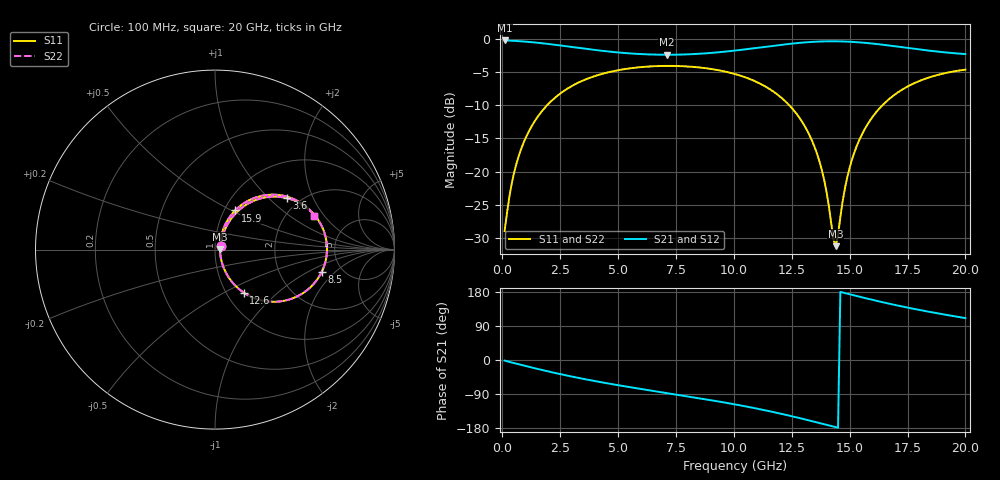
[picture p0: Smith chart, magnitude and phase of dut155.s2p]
! Touchstone file exported from HFSS 2026.1.0
!  File:  C:/ffzhzh/LocalFiles/Ansys_Project_Files/temp_train_TSV_RDL_155_1783052571_45820.aedt
!  Generated:  12:37:08 PM Jul  3, 2026
!  Design:  TSV_RDL
!  Project:  temp_train_TSV_RDL_155_1783052571_45820
! Variables:
!  h_bsmrdl = 2.17um
!  h_ox = 20um
!  h_rdl = 5um
!  h_sub = 96.87um
!  h_tmrdl = 2.38um
!  h_tsv = 96.87um
!  h_via = 3um
!  l_bsmrdl = 872.55um
!  l_sub = 3951.93um
!  l_tmrdl = 203.51um
!  m_sub = 200um
!  pitch = 58.49um
!  r_tsv = 3.73um
!  s_tmrdl = 10um
!  w_bsmrdl = 24.58um
!  w_sub = 500um
!  w_tmrdl = 15.5um
!  x_tsv_center1 = 211.26um
!  x_tsv_center2 = 1108.39um
!  x_tsv_center3 = 1327.4um
!  x_tsv_center4 = 2224.53um
!  x_tsv_center5 = 2443.54um
!  x_tsv_center6 = 3340.67um
# GHz S MA R 50.000000
! Terminal data exported
! Port[1] = TM_RDL1_1_T1
! Port[2] = TM_RDL5_1_T1
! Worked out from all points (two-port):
!   200 points, 100 MHz to 20 GHz, reference 50 ohm
!   highest |S21| = -0.27 dB at 100 MHz (marker M1); lowest = -2.4 dB at 7.1 GHz (marker M2)
!   |S21| within 3 dB of the highest: start of sweep to end of sweep
!   lowest |S11| = -31.2 dB at 14.4 GHz (marker M3), VSWR 1.06, Z = 52.8 + j0.333 ohm
!   |S11| at or under -10 dB: start of sweep to 1.94 GHz; 12.39 GHz to 16.42 GHz (4.032 GHz wide, 28 % of centre)
!   |S22| runs from -31.2 to -4.1 dB; largest |S21 - S12| = 1.7e-14
!   S11 on the Smith chart (normalised r, x): 100 MHz: 1.06, +0.04; 3.6 GHz: 1.72, +1.30; 8.5 GHz: 3.52, -1.38; 12.6 GHz: 1.20, -0.63; 15.9 GHz: 1.12, +0.52; 20 GHz: 2.80, +1.60
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0.1  0.03574 30.0  0.9694 -1.6  0.9694 -1.6  0.03574 30.0
! Gamma 0 0 0 0
! Port Impedance 50 0 50 0
0.5  0.09659 62.0  0.963 -8.1  0.963 -8.1  0.09659 62.0
1.2  0.2091 61.6  0.9436 -18.8  0.9436 -18.8  0.2091 61.6
2.2  0.3501 51.3  0.9031 -33.2  0.9031 -33.2  0.3501 51.3
3.5  0.4856 36.6  0.8431 -49.8  0.8431 -49.8  0.4856 36.6
3.6  0.4938 35.5  0.8387 -51.0  0.8387 -51.0  0.4938 35.5
6.8  0.6227 4.0  0.7575 -84.3  0.7575 -84.3  0.6227 4.0
7.1  0.624 1.3  0.7568 -87.2  0.7568 -87.2  0.624 1.3
8.5  0.6076 -11.7  0.7697 -100.8  0.7697 -100.8  0.6076 -11.7
10.1  0.5389 -27.7  0.8155 -117.7  0.8155 -117.7  0.5389 -27.7
11.5  0.4226 -43.4  0.8748 -134.6  0.8748 -134.6  0.4227 -43.4
12.6  0.2874 -56.4  0.9214 -149.8  0.9214 -149.8  0.2875 -56.3
13.4  0.1671 -64.0  0.9458 -161.7  0.9458 -161.7  0.1671 -64.0
13.9  0.08677 -62.6  0.9539 -169.4  0.9539 -169.4  0.08677 -62.6
14.3  0.03101 -25.0  0.9557 -175.7  0.9557 -175.7  0.03099 -25.0
14.4  0.02751 6.6  0.9554 -177.2  0.9554 -177.2  0.02747 6.6
14.8  0.07527 64.0  0.9517 176.5  0.9517 176.5  0.07526 64.0
15  0.1069 67.5  0.9483 173.4  0.9483 173.4  0.1069 67.5
15.9  0.2452 62.7  0.9218 159.9  0.9218 159.9  0.2452 62.8
16.7  0.3508 53.7  0.8884 148.7  0.8884 148.7  0.3508 53.8
18.2  0.4945 36.9  0.822 129.9  0.822 129.9  0.4945 36.9
20  0.5847 18.8  0.7659 110.6  0.7659 110.6  0.5847 18.8
